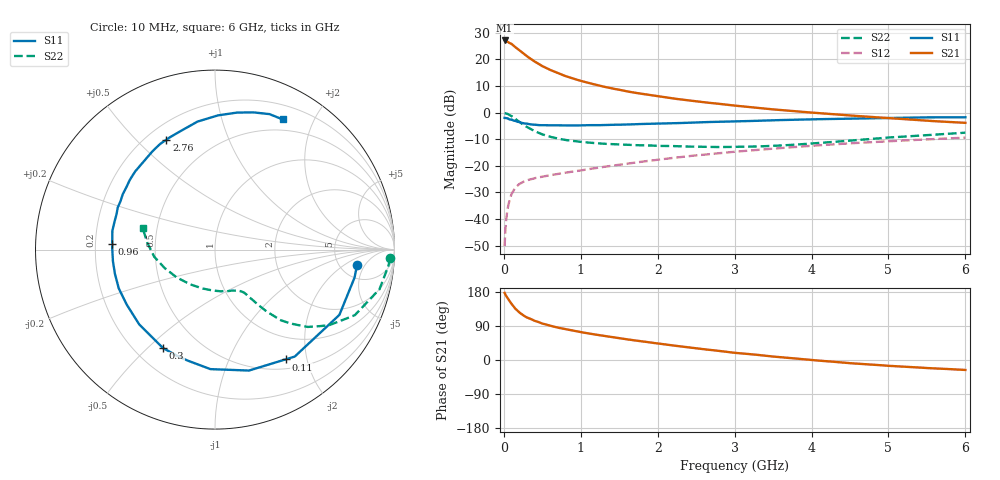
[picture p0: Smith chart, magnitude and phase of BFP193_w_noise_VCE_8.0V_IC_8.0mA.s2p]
! Infineon Technologies  Discrete & RF Semiconductors
! BFP193
! VCE = 8.0 V,  IC =  8.0 mA
! Common Emitter S-Parameters:  Jan 2016
# GHz  S  MA  R  50
!  f  S11  S21  S12  S22
! GHz  MAG  ANG  MAG  ANG  MAG  ANG  MAG  ANG
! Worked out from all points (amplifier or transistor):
!   210 points, 10 MHz to 6 GHz, reference 50 ohm
!   highest |S21| = 27.1 dB at 10 MHz (marker M1)
!   |S21| within 3 dB of that: start of sweep to 171.4 MHz
!   unconditionally stable (mu >= 1): 1.158 GHz to 3.735 GHz
!   at 185 MHz: K = 0.28, MSG = 25.5 dB, |S12| = -27.2 dB
!   at 1.52 GHz: K = 1.08, MAG = 12.3 dB, |S12| = -19.5 dB
!   at 6 GHz: K = 0.90, MSG = 2.8 dB, |S12| = -9.4 dB
!   lowest NFmin = 1.25 dB at 450 MHz
!   S11 on the Smith chart (normalised r, x): 10 MHz: 7.29, -3.32; 110 MHz: 0.63, -1.65; 300 MHz: 0.31, -0.56; 960 MHz: 0.27, +0.02; 2.76 GHz: 0.28, +0.62; 6 GHz: 0.36, +1.58
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0.01  0.7965 -6.0  22.64 177.1  0.0031 85.8  0.9776 -2.8
0.02  0.7929 -11.4  22.08 172.4  0.0064 80.9  0.9703 -5.4
0.05  0.7827 -27.7  21.35 162.7  0.0159 75.3  0.9429 -13.5
0.1  0.7433 -53.3  19.52 147.9  0.0295 65.2  0.8606 -25.1
0.11  0.7271 -57.3  18.94 145.6  0.0313 62.9  0.8393 -26.7
0.15  0.7 -74.3  16.95 135.2  0.0389 55.9  0.7611 -33.7
0.2  0.6664 -92.2  14.91 125.8  0.0455 50.4  0.6732 -39.8
0.26  0.6294 -109.0  12.64 116.9  0.0506 45.6  0.5815 -44.7
0.3  0.6204 -117.8  11.39 112.2  0.0535 43.8  0.536 -47.1
0.4  0.5932 -135.4  9.103 103.4  0.0587 40.7  0.4482 -50.2
0.5  0.5795 -148.1  7.462 96.2  0.0625 39.9  0.3903 -52.0
0.6  0.5781 -158.1  6.358 90.5  0.0665 40.2  0.3515 -53.2
0.7  0.5736 -166.5  5.524 85.5  0.0702 40.6  0.3259 -54.2
0.96  0.5734 177.0  4.104 75.2  0.0804 42.5  0.2864 -56.3
1.02  0.5761 173.7  3.877 72.9  0.0828 43.1  0.2801 -57.1
1.4  0.5903 156.6  2.849 60.7  0.1001 44.9  0.2566 -63.1
2.02  0.623 134.9  2.008 43.1  0.1314 44.8  0.2368 -76.8
2.76  0.6703 113.8  1.48 24.9  0.1708 41.2  0.2258 -99.2
3.1  0.6884 105.9  1.31 17.3  0.1891 38.9  0.2279 -111.3
4.1  0.752 87.1  0.976 -1.7  0.2434 30.4  0.2693 -147.6
5.1  0.797 73.1  0.771 -16.4  0.2944 20.4  0.3469 -175.9
6  0.8174 62.6  0.642 -26.3  0.3386 10.6  0.4196 163.6
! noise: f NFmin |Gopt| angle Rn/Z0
0.45  1.25  0.23  133  0.12
0.9  1.3  0.35  156  0.11
1.8  2  0.55  -155  0.13
